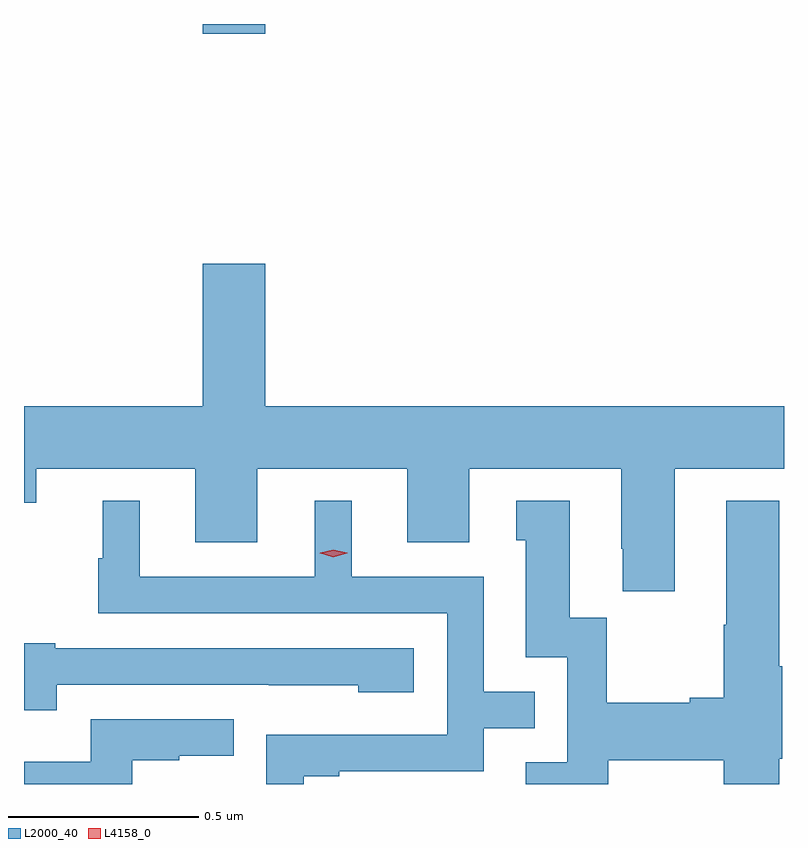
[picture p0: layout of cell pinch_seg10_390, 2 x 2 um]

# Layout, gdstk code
import gdstk
lib = gdstk.Library(unit=1e-6, precision=1e-09)
def R(c, l, rs):  # rectangles x0, y0, x1, y1
    for r in rs: c.add(gdstk.rectangle(r[:2], r[2:], *l))
def P(c, l, *ps):  # polygons
    for p in ps: c.add(gdstk.Polygon(p, *l))
L2000_40 = (2000, 40)
L4158_0 = (4158, 0)

pinch_seg10_390 = lib.new_cell('pinch_seg10_390')
R(pinch_seg10_390, L2000_40, [(644.528,1277.484,644.692,1277.51)])
P(pinch_seg10_390, L2000_40, [(645.769,1276.34),(646.057,1276.34),(646.057,1276.504),(644.692,1276.504),(644.692,1276.879),(644.528,1276.879),(644.528,1276.504),(644.057,1276.504),(644.057,1276.25),(644.089,1276.25),(644.089,1276.34),(644.507,1276.34),(644.507,1276.146),(644.671,1276.146),(644.671,1276.34),(645.065,1276.34),(645.065,1276.146),(645.229,1276.146),(645.229,1276.34),(645.629,1276.34),(645.629,1276.129),(645.632,1276.129),(645.632,1276.017),(645.769,1276.017)],
  [(645.595,1275.572),(645.898,1275.572),(645.898,1275.51),(646.045,1275.51),(646.045,1275.576),(646.053,1275.576),(646.053,1275.82),(646.045,1275.82),(646.045,1276.255),(645.905,1276.255),(645.905,1275.929),(645.898,1275.929),(645.898,1275.737),(645.809,1275.737),(645.809,1275.724),(645.591,1275.724),(645.591,1275.947),(645.493,1275.947),(645.493,1276.255),(645.353,1276.255),(645.353,1276.152),(645.377,1276.152),(645.377,1275.843),(645.486,1275.843),(645.486,1275.567),(645.377,1275.567),(645.377,1275.51),(645.595,1275.51)],
  [(644.793,1275.531),(644.887,1275.531),(644.887,1275.543),(645.267,1275.543),(645.267,1275.657),(645.401,1275.657),(645.401,1275.753),(645.267,1275.753),(645.267,1276.056),(644.92,1276.056),(644.92,1276.255),(644.822,1276.255),(644.822,1276.056),(644.362,1276.056),(644.362,1276.255),(644.264,1276.255),(644.264,1276.104),(644.253,1276.104),(644.253,1275.96),(645.171,1275.96),(645.171,1275.639),(644.694,1275.639),(644.694,1275.51),(644.793,1275.51)],
  [(644.143,1275.771),(644.701,1275.771),(644.701,1275.77),(644.937,1275.77),(644.937,1275.752),(645.082,1275.752),(645.082,1275.867),(644.139,1275.867),(644.139,1275.88),(644.057,1275.88),(644.057,1275.704),(644.143,1275.704)],
  [(644.342,1275.573),(644.465,1275.573),(644.465,1275.584),(644.609,1275.584),(644.609,1275.681),(644.232,1275.681),(644.232,1275.569),(644.057,1275.569),(644.057,1275.51),(644.342,1275.51)])
P(pinch_seg10_390, L4158_0, [(644.871,1276.107),(644.836,1276.117),(644.835,1276.117),(644.836,1276.118),(644.871,1276.127),(644.907,1276.118),(644.907,1276.117),(644.907,1276.117)])

lib.write_gds('pinch_seg10_390.gds')
